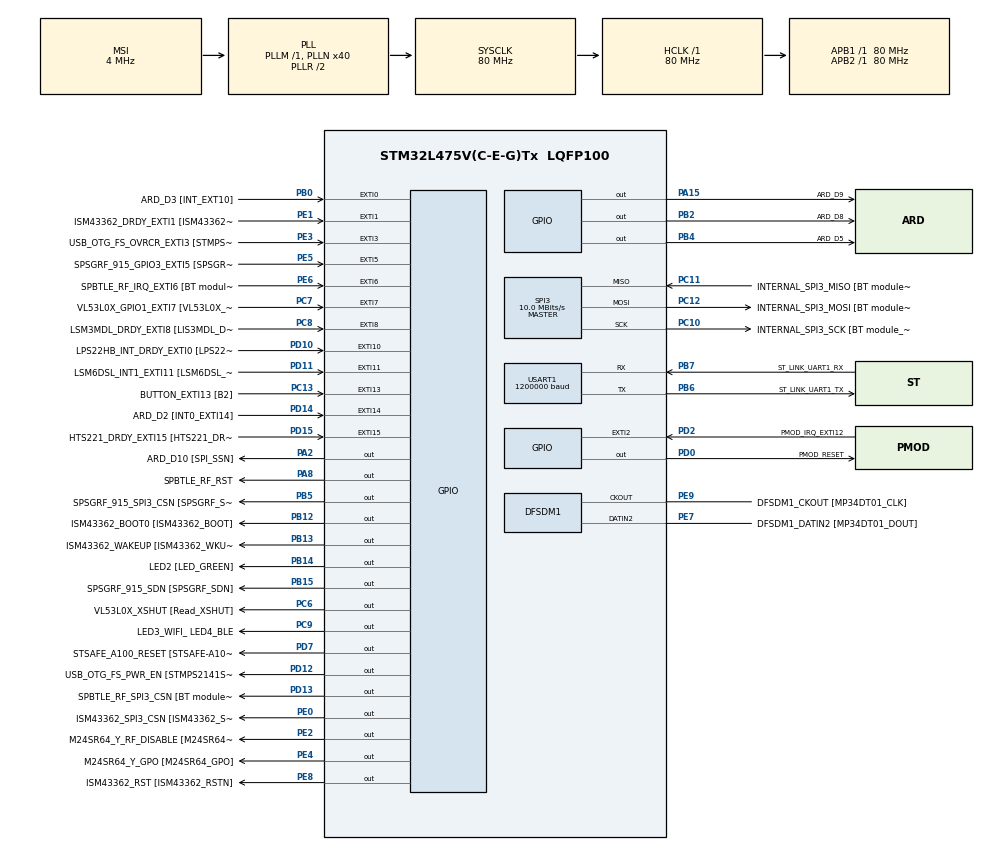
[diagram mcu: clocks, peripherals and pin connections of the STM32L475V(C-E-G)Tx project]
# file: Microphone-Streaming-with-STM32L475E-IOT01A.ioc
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DFSDM1.Divider=40
DFSDM1.DmaMode_reg_FIL0=ENABLE
DFSDM1.FastMode_reg_FIL0=ENABLE
DFSDM1.Filter_regChannel_FIL0=DFSDM_CHANNEL_2
DFSDM1.Fosr_FIL0=64
DFSDM1.SincOrder_FIL0=DFSDM_FILTER_SINC3_ORDER
DFSDM1.Type_spi_CH2=DFSDM_CHANNEL_SPI_RISING
Dma.DFSDM1_FLT0.0.Direction=DMA_PERIPH_TO_MEMORY
Dma.DFSDM1_FLT0.0.Instance=DMA1_Channel4
Dma.DFSDM1_FLT0.0.MemDataAlignment=DMA_MDATAALIGN_WORD
Dma.DFSDM1_FLT0.0.MemInc=DMA_MINC_ENABLE
Dma.DFSDM1_FLT0.0.Mode=DMA_CIRCULAR
Dma.DFSDM1_FLT0.0.PeriphDataAlignment=DMA_PDATAALIGN_WORD
Dma.DFSDM1_FLT0.0.PeriphInc=DMA_PINC_DISABLE
Dma.DFSDM1_FLT0.0.Priority=DMA_PRIORITY_LOW
Dma.Request0=DFSDM1_FLT0
Mcu.Family=STM32L4
Mcu.Name=STM32L475V(C-E-G)Tx
Mcu.Package=LQFP100
NVIC.DMA1_Channel4_IRQn=true\:0\:0\:false\:false\:true\:false\:true\:true
NVIC.EXTI1_IRQn=true\:0\:0\:false\:false\:true\:true\:true\:true
NVIC.PriorityGroup=NVIC_PRIORITYGROUP_2
PA0.GPIO_Label=ARD_D1 [UART4_TX]
PA0.Signal=UART4_TX
PA1.GPIO_Label=ARD_D0 [UART4_RX]
PA1.Signal=UART4_RX
PA10.GPIO_Label=USB_OTG_FS_ID
PA10.Signal=USB_OTG_FS_ID
PA11.GPIO_Label=USB_OTG_FS_DM
PA11.Signal=USB_OTG_FS_DM
PA12.GPIO_Label=USB_OTG_FS_DP
PA12.Signal=USB_OTG_FS_DP
PA13\ (JTMS-SWDIO).GPIO_Label=SYS_JTMS_SWDIO
PA13\ (JTMS-SWDIO).Signal=SYS_JTMS-SWDIO
PA14\ (JTCK-SWCLK).GPIO_Label=SYS_JTCK_SWCLK
PA14\ (JTCK-SWCLK).Signal=SYS_JTCK-SWCLK
PA15\ (JTDI).GPIO_Label=ARD_D9
PA15\ (JTDI).Signal=GPIO_Output
PA2.GPIO_Label=ARD_D10 [SPI_SSN]
PA2.Signal=GPIO_Output
PA3.GPIO_Label=ARD_D4
PA3.Signal=S_TIM2_CH4
PA4.GPIO_Label=ARD_D7
PA4.Signal=ADCx_IN9
PA5.GPIO_Label=ARD_D13 [SPI1_SCK]
PA5.Signal=SPI1_SCK
PA6.GPIO_Label=ARD_D12 [SPI1_MISO]
PA6.Signal=SPI1_MISO
PA7.GPIO_Label=ARD_D11 [SPI1_MOSI]
PA7.Signal=SPI1_MOSI
PA8.GPIO_Label=SPBTLE_RF_RST
PA8.Signal=GPIO_Output
PA9.GPIO_Label=USB_OTG_FS_VBUS [STMPS2141STR_OUT]
PA9.Signal=USB_OTG_FS_VBUS
PB0.GPIO_Label=ARD_D3 [INT_EXT10]
PB0.Signal=GPXTI0
PB1.GPIO_Label=ARD_D6 [ADC1_IN6]
PB1.Signal=ADCx_IN16
PB10.GPIO_Label=INTERNAL_I2C2_SCL [VL53L0X_SCL]
PB10.Signal=I2C2_SCL
PB11.GPIO_Label=INTERNAL_I2C2_SDA [VL53L0X_SDA]
PB11.Signal=I2C2_SDA
PB12.GPIO_Label=ISM43362_BOOT0 [ISM43362_BOOT]
PB12.Signal=GPIO_Output
PB13.GPIO_Label=ISM43362_WAKEUP [ISM43362_WKUP]
PB13.Signal=GPIO_Output
PB14.GPIO_Label=LED2 [LED_GREEN]
PB14.PinState=GPIO_PIN_RESET
PB14.Signal=GPIO_Output
PB15.GPIO_Label=SPSGRF_915_SDN [SPSGRF_SDN]
PB15.Signal=GPIO_Output
PB2.GPIO_Label=ARD_D8
PB2.Signal=GPIO_Output
PB3\ (JTDO-TRACESWO).GPIO_Label=SYS_JTD0_SWO
PB3\ (JTDO-TRACESWO).Signal=SYS_JTDO-SWO
PB4\ (NJTRST).GPIO_Label=ARD_D5
PB4\ (NJTRST).Signal=GPIO_Output
PB5.GPIO_Label=SPSGRF_915_SPI3_CSN [SPSGRF_SPI_CS]
PB5.PinState=GPIO_PIN_SET
PB5.Signal=GPIO_Output
PB6.GPIO_Label=ST_LINK_UART1_TX
PB6.Mode=Asynchronous
PB6.Signal=USART1_TX
PB7.GPIO_Label=ST_LINK_UART1_RX
PB7.Mode=Asynchronous
PB7.Signal=USART1_RX
PB8.GPIO_Label=ARD_D15 [I2C1_SCL]
PB8.Signal=I2C1_SCL
PB9.GPIO_Label=ARD_D14 [I2C1_SDA]
PB9.Signal=I2C1_SDA
PC0.GPIO_Label=ARD_A5 [ADC]
PC0.Signal=ADCx_IN1
PC1.GPIO_Label=ARD_A4 [ADC]
PC1.Signal=ADCx_IN2
PC10.GPIO_Label=INTERNAL_SPI3_SCK [BT module_SPI_SCLK] [ISM43362_SCK]
PC10.Mode=Full_Duplex_Master
PC10.Signal=SPI3_SCK
PC11.GPIO_Label=INTERNAL_SPI3_MISO [BT module_SPI_MISO] [ISM43362_MISO]
PC11.Mode=Full_Duplex_Master
PC11.Signal=SPI3_MISO
PC12.GPIO_Label=INTERNAL_SPI3_MOSI [BT module_SPI_MOSI] [ISM43362_MOSI]
PC12.Mode=Full_Duplex_Master
PC12.Signal=SPI3_MOSI
PC13.GPIO_Label=BUTTON_EXTI13 [B2]
PC13.GPIO_ModeDefaultEXTI=GPIO_MODE_IT_FALLING
PC13.Signal=GPXTI13
PC14-OSC32_IN\ (PC14).Signal=RCC_OSC32_IN
PC15-OSC32_OUT\ (PC15).Signal=RCC_OSC32_OUT
PC2.GPIO_Label=ARD_A3 [ADC]
PC2.Signal=ADCx_IN3
PC3.GPIO_Label=ARD_A2 [ADC]
PC3.Signal=ADCx_IN4
PC4.GPIO_Label=ARD_A1 [ADC]
PC4.Signal=ADCx_IN13
PC5.GPIO_Label=ARD_A0 [ADC]
PC5.Signal=ADCx_IN14
PC6.GPIO_Label=VL53L0X_XSHUT [Read_XSHUT]
PC6.Signal=GPIO_Output
PC7.GPIO_Label=VL53L0X_GPIO1_EXTI7 [VL53L0X_GPIO1]
PC7.Signal=GPXTI7
PC8.GPIO_Label=LSM3MDL_DRDY_EXTI8 [LIS3MDL_DRDY]
PC8.Signal=GPXTI8
PC9.GPIO_Label=LED3_WIFI_ LED4_BLE
PC9.Signal=GPIO_Output
PD0.GPIO_Label=PMOD_RESET
PD0.Signal=GPIO_Output
PD1.GPIO_Label=PMOD_SPI2_SCK
PD1.Signal=SPI2_SCK
PD10.GPIO_Label=LPS22HB_INT_DRDY_EXTI0 [LPS22HB_INT_DRDY] 
PD10.Signal=GPXTI10
PD11.GPIO_Label=LSM6DSL_INT1_EXTI11 [LSM6DSL_INT1]
PD11.Signal=GPXTI11
PD12.GPIO_Label=USB_OTG_FS_PWR_EN [STMPS2141STR_EN]
PD12.Signal=GPIO_Output
PD13.GPIO_Label=SPBTLE_RF_SPI3_CSN [BT module_SPI_CS]
PD13.PinState=GPIO_PIN_SET
PD13.Signal=GPIO_Output
PD14.GPIO_Label=ARD_D2 [INT0_EXTI14]
PD14.Signal=GPXTI14
PD15.GPIO_Label=HTS221_DRDY_EXTI15 [HTS221_DRDY]
PD15.Signal=GPXTI15
PD2.GPIO_Label=PMOD_IRQ_EXTI12
PD2.Signal=GPXTI2
PD3.GPIO_Label=PMOD_UART2_CTS
PD3.Signal=USART2_CTS
PD4.GPIO_Label=PMOD_UART2_RTS
PD4.Signal=USART2_RTS
PD5.GPIO_Label=PMOD_UART2_TX
PD5.Signal=USART2_TX
PD6.GPIO_Label=PMOD_UART2_RX
PD6.Signal=USART2_RX
PD7.GPIO_Label=STSAFE_A100_RESET [STSAFE-A100_RESET]
PD7.Signal=GPIO_Output
PD8.GPIO_Label=INTERNAL_UART3_TX [ISM43362_RX]
PD8.Signal=USART3_TX
PD9.GPIO_Label=INTERNAL_UART3_RX [ISM43362_TX]
PD9.Signal=USART3_RX
PE0.GPIO_Label=ISM43362_SPI3_CSN [ISM43362_SSN]
PE0.PinState=GPIO_PIN_SET
PE0.Signal=GPIO_Output
PE1.GPIO_Label=ISM43362_DRDY_EXTI1 [ISM43362_DATARDY]
PE1.Signal=GPXTI1
PE10.GPIO_Label=QUADSPI_CLK [MX25R6435F_SCLK]
PE10.Signal=QUADSPI_CLK
PE11.GPIO_Label=QUADSPI_NCS [MX25R6435F_SCLK]
PE11.Signal=QUADSPI_NCS
PE12.GPIO_Label=OQUADSPI_BK1_IO0 [MX25R6435F_IO0]
PE12.Signal=QUADSPI_BK1_IO0
PE13.GPIO_Label=QUADSPI_BK1_IO1 [MX25R6435F_IO1]
PE13.Signal=QUADSPI_BK1_IO1
PE14.GPIO_Label=QUAD_SPI_BK1_IO2 [MX25R6435F_IO2]
PE14.Signal=QUADSPI_BK1_IO2
PE15.GPIO_Label=QUAD_SPI_BK1_IO3 [MX25R6435F_IO3]
PE15.Signal=QUADSPI_BK1_IO3
PE2.GPIO_Label=M24SR64_Y_RF_DISABLE [M24SR64_RFDIS]
PE2.Signal=GPIO_Output
PE3.GPIO_Label=USB_OTG_FS_OVRCR_EXTI3 [STMPS2141STR_FAULT]
PE3.Signal=GPXTI3
PE4.GPIO_Label=M24SR64_Y_GPO [M24SR64_GPO]
PE4.Signal=GPIO_Output
PE5.GPIO_Label=SPSGRF_915_GPIO3_EXTI5 [SPSGRF_GPIO_3]
PE5.Signal=GPXTI5
PE6.GPIO_Label=SPBTLE_RF_IRQ_EXTI6 [BT module_SPI_IRQ]
PE6.Signal=GPXTI6
PE7.GPIO_Label=DFSDM1_DATIN2 [MP34DT01_DOUT]
PE7.Signal=S_DATAIN2DFSDM1
PE8.GPIO_Label=ISM43362_RST [ISM43362_RSTN]
PE8.Signal=GPIO_Output
PE9.GPIO_Label=DFSDM1_CKOUT [MP34DT01_CLK]
PE9.Signal=S_CKOUTDFSDM1
ProjectManager.HeapSize=0x200
ProjectManager.StackSize=0x400
ProjectManager.TargetToolchain=STM32CubeIDE
RCC.ADCFreq_Value=48000000
RCC.AHBFreq_Value=80000000
RCC.APB1Freq_Value=80000000
RCC.APB1TimFreq_Value=80000000
RCC.APB2Freq_Value=80000000
RCC.APB2TimFreq_Value=80000000
RCC.CortexFreq_Value=80000000
RCC.HCLKFreq_Value=80000000
RCC.HSE_VALUE=8000000
RCC.HSI_VALUE=16000000
RCC.LSE_VALUE=32768
RCC.MSI_VALUE=4000000
RCC.PLLN=40
RCC.PLLSAI1N=24
RCC.SYSCLKFreq_VALUE=80000000
RCC.SYSCLKSource=RCC_SYSCLKSOURCE_PLLCLK
RCC.USBFreq_Value=48000000
RCC.VCOOutputFreq_Value=160000000
SH.ADCx_IN1.0=ADC1_IN1
SH.ADCx_IN13.0=ADC1_IN13
SH.ADCx_IN14.0=ADC1_IN14
SH.ADCx_IN16.0=ADC1_IN16
SH.ADCx_IN2.0=ADC1_IN2
SH.ADCx_IN3.0=ADC1_IN3
SH.ADCx_IN4.0=ADC1_IN4
SH.ADCx_IN9.0=ADC1_IN9
SH.S_CKOUTDFSDM1.0=DFSDM1_CKOUT,PDM_SPI_input_from_ch2_and_internal_clock
SH.S_CKOUTDFSDM1.1=DFSDM1_CKOUT,CKOUT
SH.S_DATAIN2DFSDM1.0=DFSDM1_DATIN2,PDM_SPI_input_from_ch2_and_internal_clock
SH.S_TIM2_CH4.0=TIM2_CH4
SPI3.BaudRatePrescaler=SPI_BAUDRATEPRESCALER_8
SPI3.CalculateBaudRate=10.0 MBits/s
SPI3.DataSize=SPI_DATASIZE_16BIT
SPI3.Direction=SPI_DIRECTION_2LINES
SPI3.Mode=SPI_MODE_MASTER
SPI3.VirtualType=VM_MASTER
USART1.BaudRate=1200000
USART1.VirtualMode-Asynchronous=VM_ASYNC
VP_FATFS_VS_Generic.Mode=User_defined
board=B-L475E-IOT01A2

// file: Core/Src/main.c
/* USER CODE BEGIN Header */
/**
  ******************************************************************************
  * @file           : main.c
  * @brief          : Main program body
  ******************************************************************************
  * @attention
  *
  * Copyright (c) 2023 STMicroelectronics.
  * All rights reserved.
  *
  * This software is licensed under terms that can be found in the LICENSE file
  * in the root directory of this software component.
  * If no LICENSE file comes with this software, it is provided AS-IS.
  *
  ******************************************************************************
  */
/* USER CODE END Header */
#include "main.h"
#include "fatfs.h"

/* USER CODE BEGIN Includes */
#include "string.h"
#include "wifi.h"

/* USER CODE END Includes */

/* USER CODE BEGIN PD */

#define SaturaLH(N, L, H) 				(((N)<(L))?(L):(((N)>(H))?(H):(N)))

#define AUDIO_BUFFER_SIZE							2000
#define AUDIO_WAITING_SEND_SIGNAL			0
#define AUDIO_WAITING_BUFFER					1
#define AUDIO_HALF_BUFFER_AVIALABLE		2
#define AUDIO_FULL_BUFFER_AVAILABLE		3

// WiFi
#define AP_SSID     									"stm32audioserver"
#define AP_PASSWORD 									"12345678"
#define PORT           								5024

#define WIFI_WRITE_TIMEOUT 						10000
#define WIFI_READ_TIMEOUT  						10000
#define SOCKET              					0

// LOG
#define LOG(a)  											printf a

/* USER CODE END PD */

DFSDM_Filter_HandleTypeDef hdfsdm1_filter0;
DFSDM_Channel_HandleTypeDef hdfsdm1_channel2;
DMA_HandleTypeDef hdma_dfsdm1_flt0;

SPI_HandleTypeDef hspi3;

UART_HandleTypeDef huart1;

/* USER CODE BEGIN PV */

// Audio
uint8_t audio_buffer_status 									= AUDIO_WAITING_SEND_SIGNAL;
int32_t raw_audio_buff[AUDIO_BUFFER_SIZE] 		= {0};
int32_t conv_audio_buff[AUDIO_BUFFER_SIZE] 		= {0};

// WiFi
static  uint8_t 	http[1024]	= {0};
static  uint8_t  	IP_Addr[4]	= {0};
static  int     	LedState 		= 0;

/* USER CODE END PV */

void SystemClock_Config(void);
static void MX_GPIO_Init(void);
static void MX_DMA_Init(void);
static void MX_USART1_UART_Init(void);
static void MX_DFSDM1_Init(void);
static void MX_SPI3_Init(void);
/* USER CODE BEGIN PFP */

static  int wifi_init(void);
static  int wifi_shareAP(void);
static  int wifi_server(void);
static  bool WebServerProcess(void);
static  WIFI_Status_t SendWebPage(uint8_t ledIsOn, uint8_t temperature);

static void start_wifi_cli(void);

/* USER CODE END PFP */

int main(void)
{

  /* MCU Configuration--------------------------------------------------------*/

  /* Reset of all peripherals, Initializes the Flash interface and the Systick. */
  HAL_Init();

  /* Configure the system clock */
  SystemClock_Config();

  /* Initialize all configured peripherals */
  MX_GPIO_Init();
  MX_DMA_Init();
  MX_USART1_UART_Init();
  MX_DFSDM1_Init();
  MX_FATFS_Init();
  MX_SPI3_Init();
  /* USER CODE BEGIN 2 */

  if (wifi_init() != 0)
  {
  	while(1);
  }

  if (wifi_shareAP() != 0)
	{
  	asm("nop");
	}

  if (wifi_server() != 0)
	{
  	asm("nop");
	}

  start_wifi_cli();

//  http://stm32audioserver:5024

//  /* Wait HTTP request from Clients */
//
//	#define WIFI_PACKET_MAX_SIZE 								1460
//  uint8_t  client_data[WIFI_PACKET_MAX_SIZE] = {0};
//  uint16_t max_packet_size 									 = 1200;			// must not exceed 1460 bytes
//  uint16_t read_timeout 										 = 1000;			// 1 second
//  uint16_t write_timeout 										 = 5000;			// 5 second
//  uint16_t rcvDataLen												 = 0;
//  uint16_t sentDataLen											 = 0;
//  char 		*token_ptr 												 = NULL;
//  WIFI_Status_t ret 												 = WIFI_STATUS_ERROR;
//	char *homePageResponse = "HTTP/1.1 200 OK\r\n "
//											"Content-Type: text/html\r\n"
//											"\r\n"
//											"<html><body><h1>Hello, World!</h1></body></html>\r\n"
//											"\r\n";
//
//	do
//  {
//  		ret = WIFI_ReceiveData(socket, client_data, max_packet_size, &rcvDataLen, read_timeout);
//  		if(ret != WIFI_STATUS_OK)
//  		{
//  				HandleClientError("Failed to Receive Data");
//  		}
//
//  		if(rcvDataLen > 0)
//  		{
//					char datalen_str[100] = {0};
//  				HAL_UART_Transmit(&huart1, (uint8_t *)"-----> New Message \r\n", strlen("-----> New Message \r\n"), HAL_MAX_DELAY);
//					sprintf((char*)datalen_str, "RcvDataLen : %d\r\n", rcvDataLen);
//					HAL_UART_Transmit(&huart1, (uint8_t *)datalen_str, strlen(datalen_str), HAL_MAX_DELAY);
//  				HAL_UART_Transmit(&huart1, (uint8_t *)client_data, rcvDataLen, HAL_MAX_DELAY);
//  				HAL_UART_Transmit(&huart1, (uint8_t *)"-----> End Message \r\n", strlen("-----> End Message \r\n"), HAL_MAX_DELAY);
//
//  				// check if connection is lost
//  				token_ptr = strstr((char *)client_data, "-1\r\nERROR:");
//  				if (token_ptr != NULL)
//  				{
//							//	Response= "-1"
//							//	Any one of the following reasons will cause a "-1" response:
//							//	1. Connection to the network (AP) has been lost
//							//	2. Other side has closed the connection
//							//	3. Other side has lost it connection to the network
//							printf("Connection lost\r\n");
//  				}
//  				else
//  				{
//  						// check if GET request is received
//							token_ptr = strstr((char *)client_data, "GET /");
//							if (token_ptr != NULL)
//							{
//									printf("Received GET Request\r\n");
//									token_ptr = strstr((char *)client_data, "GET / HTTP/1.1");
//									if (token_ptr != NULL)
//									{
//											printf("Home Page Request Received\r\n");
//											ret = WIFI_SendData(socket, (uint8_t *)homePageResponse, strlen(homePageResponse), &sentDataLen, write_timeout);
//											if(ret == WIFI_STATUS_OK)
//											{
//													printf("Home Page well sent\r\n");
//											}
//											else
//											{
//													printf("Error: Data aren't sent to client\r\n");
//											}
//									}
//							}
//  				}
//  		}
//
//  }
//  while(1);

  /* USER CODE END 2 */

  /* Infinite loop */
  /* USER CODE BEGIN WHILE */

  uint8_t preambule[4] = "Send";
  uint8_t rcv_data[4] = {0};

  if (HAL_DFSDM_FilterRegularStart_DMA(&hdfsdm1_filter0, raw_audio_buff, AUDIO_BUFFER_SIZE) != HAL_OK)
  {
	  Error_Handler();
  }

  while (1)
  {
		switch (audio_buffer_status)
		{
			case AUDIO_WAITING_SEND_SIGNAL:

				if (HAL_UART_Receive(&huart1, (uint8_t *)rcv_data, 4, HAL_MAX_DELAY) == HAL_OK)
				{
					if (memcmp(rcv_data, preambule, 4) == 0)
					{
						// wait for DMA to fill buffer
						audio_buffer_status = AUDIO_WAITING_BUFFER;
					}
				}
				break;

			case AUDIO_HALF_BUFFER_AVIALABLE:

				for(uint16_t sample_index = 0; sample_index < AUDIO_BUFFER_SIZE / 2; sample_index ++)
				{
					conv_audio_buff[sample_index] = SaturaLH(((int32_t)raw_audio_buff[sample_index] >> 8), -32768, 32767);
					HAL_UART_Transmit(&huart1, (uint8_t *)&conv_audio_buff[sample_index], 2, HAL_MAX_DELAY);
				}
				audio_buffer_status = AUDIO_WAITING_SEND_SIGNAL;
				break;

			case AUDIO_FULL_BUFFER_AVAILABLE:

				for(uint16_t sample_index = AUDIO_BUFFER_SIZE / 2; sample_index < AUDIO_BUFFER_SIZE; sample_index ++)
				{
					conv_audio_buff[sample_index] = SaturaLH(((int32_t)raw_audio_buff[sample_index] >> 8), -32768, 32767);
					HAL_UART_Transmit(&huart1, (uint8_t *)&conv_audio_buff[sample_index], 2, HAL_MAX_DELAY);
				}
				audio_buffer_status = AUDIO_WAITING_SEND_SIGNAL;
				break;
		}

    /* USER CODE END WHILE */

  }
}

void SystemClock_Config(void)
{
  RCC_OscInitTypeDef RCC_OscInitStruct = {0};
  RCC_ClkInitTypeDef RCC_ClkInitStruct = {0};

  /** Configure the main internal regulator output voltage
  */
  if (HAL_PWREx_ControlVoltageScaling(PWR_REGULATOR_VOLTAGE_SCALE1) != HAL_OK)
  {
    Error_Handler();
  }

  /** Initializes the RCC Oscillators according to the specified parameters
  * in the RCC_OscInitTypeDef structure.
  */
  RCC_OscInitStruct.OscillatorType = RCC_OSCILLATORTYPE_MSI;
  RCC_OscInitStruct.MSIState = RCC_MSI_ON;
  RCC_OscInitStruct.MSICalibrationValue = 0;
  RCC_OscInitStruct.MSIClockRange = RCC_MSIRANGE_6;
  RCC_OscInitStruct.PLL.PLLState = RCC_PLL_ON;
  RCC_OscInitStruct.PLL.PLLSource = RCC_PLLSOURCE_MSI;
  RCC_OscInitStruct.PLL.PLLM = 1;
  RCC_OscInitStruct.PLL.PLLN = 40;
  RCC_OscInitStruct.PLL.PLLP = RCC_PLLP_DIV7;
  RCC_OscInitStruct.PLL.PLLQ = RCC_PLLQ_DIV2;
  RCC_OscInitStruct.PLL.PLLR = RCC_PLLR_DIV2;
  if (HAL_RCC_OscConfig(&RCC_OscInitStruct) != HAL_OK)
  {
    Error_Handler();
  }

  /** Initializes the CPU, AHB and APB buses clocks
  */
  RCC_ClkInitStruct.ClockType = RCC_CLOCKTYPE_HCLK|RCC_CLOCKTYPE_SYSCLK
                              |RCC_CLOCKTYPE_PCLK1|RCC_CLOCKTYPE_PCLK2;
  RCC_ClkInitStruct.SYSCLKSource = RCC_SYSCLKSOURCE_PLLCLK;
  RCC_ClkInitStruct.AHBCLKDivider = RCC_SYSCLK_DIV1;
  RCC_ClkInitStruct.APB1CLKDivider = RCC_HCLK_DIV1;
  RCC_ClkInitStruct.APB2CLKDivider = RCC_HCLK_DIV1;

  if (HAL_RCC_ClockConfig(&RCC_ClkInitStruct, FLASH_LATENCY_4) != HAL_OK)
  {
    Error_Handler();
  }
}

static void MX_DFSDM1_Init(void)
{

  hdfsdm1_filter0.Instance = DFSDM1_Filter0;
  hdfsdm1_filter0.Init.RegularParam.Trigger = DFSDM_FILTER_SW_TRIGGER;
  hdfsdm1_filter0.Init.RegularParam.FastMode = ENABLE;
  hdfsdm1_filter0.Init.RegularParam.DmaMode = ENABLE;
  hdfsdm1_filter0.Init.FilterParam.SincOrder = DFSDM_FILTER_SINC3_ORDER;
  hdfsdm1_filter0.Init.FilterParam.Oversampling = 64;
  hdfsdm1_filter0.Init.FilterParam.IntOversampling = 1;
  if (HAL_DFSDM_FilterInit(&hdfsdm1_filter0) != HAL_OK)
  {
    Error_Handler();
  }
  hdfsdm1_channel2.Instance = DFSDM1_Channel2;
  hdfsdm1_channel2.Init.OutputClock.Activation = ENABLE;
  hdfsdm1_channel2.Init.OutputClock.Selection = DFSDM_CHANNEL_OUTPUT_CLOCK_SYSTEM;
  hdfsdm1_channel2.Init.OutputClock.Divider = 40;
  hdfsdm1_channel2.Init.Input.Multiplexer = DFSDM_CHANNEL_EXTERNAL_INPUTS;
  hdfsdm1_channel2.Init.Input.DataPacking = DFSDM_CHANNEL_STANDARD_MODE;
  hdfsdm1_channel2.Init.Input.Pins = DFSDM_CHANNEL_SAME_CHANNEL_PINS;
  hdfsdm1_channel2.Init.SerialInterface.Type = DFSDM_CHANNEL_SPI_RISING;
  hdfsdm1_channel2.Init.SerialInterface.SpiClock = DFSDM_CHANNEL_SPI_CLOCK_INTERNAL;
  hdfsdm1_channel2.Init.Awd.FilterOrder = DFSDM_CHANNEL_FASTSINC_ORDER;
  hdfsdm1_channel2.Init.Awd.Oversampling = 1;
  hdfsdm1_channel2.Init.Offset = 0;
  hdfsdm1_channel2.Init.RightBitShift = 0x00;
  if (HAL_DFSDM_ChannelInit(&hdfsdm1_channel2) != HAL_OK)
  {
    Error_Handler();
  }
  if (HAL_DFSDM_FilterConfigRegChannel(&hdfsdm1_filter0, DFSDM_CHANNEL_2, DFSDM_CONTINUOUS_CONV_ON) != HAL_OK)
  {
    Error_Handler();
  }

}

static void MX_SPI3_Init(void)
{

  /* SPI3 parameter configuration*/
  hspi3.Instance = SPI3;
  hspi3.Init.Mode = SPI_MODE_MASTER;
  hspi3.Init.Direction = SPI_DIRECTION_2LINES;
  hspi3.Init.DataSize = SPI_DATASIZE_16BIT;
  hspi3.Init.CLKPolarity = SPI_POLARITY_LOW;
  hspi3.Init.CLKPhase = SPI_PHASE_1EDGE;
  hspi3.Init.NSS = SPI_NSS_SOFT;
  hspi3.Init.BaudRatePrescaler = SPI_BAUDRATEPRESCALER_8;
  hspi3.Init.FirstBit = SPI_FIRSTBIT_MSB;
  hspi3.Init.TIMode = SPI_TIMODE_DISABLE;
  hspi3.Init.CRCCalculation = SPI_CRCCALCULATION_DISABLE;
  hspi3.Init.CRCPolynomial = 7;
  hspi3.Init.CRCLength = SPI_CRC_LENGTH_DATASIZE;
  hspi3.Init.NSSPMode = SPI_NSS_PULSE_ENABLE;
  if (HAL_SPI_Init(&hspi3) != HAL_OK)
  {
    Error_Handler();
  }

}

static void MX_USART1_UART_Init(void)
{

  huart1.Instance = USART1;
  huart1.Init.BaudRate = 1200000;
  huart1.Init.WordLength = UART_WORDLENGTH_8B;
  huart1.Init.StopBits = UART_STOPBITS_1;
  huart1.Init.Parity = UART_PARITY_NONE;
  huart1.Init.Mode = UART_MODE_TX_RX;
  huart1.Init.HwFlowCtl = UART_HWCONTROL_NONE;
  huart1.Init.OverSampling = UART_OVERSAMPLING_16;
  huart1.Init.OneBitSampling = UART_ONE_BIT_SAMPLE_DISABLE;
  huart1.AdvancedInit.AdvFeatureInit = UART_ADVFEATURE_NO_INIT;
  if (HAL_UART_Init(&huart1) != HAL_OK)
  {
    Error_Handler();
  }

}

static void MX_DMA_Init(void)
{

  /* DMA controller clock enable */
  __HAL_RCC_DMA1_CLK_ENABLE();

  /* DMA interrupt init */
  /* DMA1_Channel4_IRQn interrupt configuration */
  HAL_NVIC_SetPriority(DMA1_Channel4_IRQn, 0, 0);
  HAL_NVIC_EnableIRQ(DMA1_Channel4_IRQn);

}

static void MX_GPIO_Init(void)
{
  GPIO_InitTypeDef GPIO_InitStruct = {0};

  /* GPIO Ports Clock Enable */
  __HAL_RCC_GPIOE_CLK_ENABLE();
  __HAL_RCC_GPIOC_CLK_ENABLE();
  __HAL_RCC_GPIOA_CLK_ENABLE();
  __HAL_RCC_GPIOB_CLK_ENABLE();
  __HAL_RCC_GPIOD_CLK_ENABLE();

  /*Configure GPIO pin Output Level */
  HAL_GPIO_WritePin(GPIOE, M24SR64_Y_RF_DISABLE_Pin|M24SR64_Y_GPO_Pin|ISM43362_RST_Pin, GPIO_PIN_RESET);

  /*Configure GPIO pin Output Level */
  HAL_GPIO_WritePin(GPIOA, ARD_D10_Pin|SPBTLE_RF_RST_Pin|ARD_D9_Pin, GPIO_PIN_RESET);

  /*Configure GPIO pin Output Level */
  HAL_GPIO_WritePin(GPIOB, ARD_D8_Pin|ISM43362_BOOT0_Pin|ISM43362_WAKEUP_Pin|LED2_Pin
                          |SPSGRF_915_SDN_Pin|ARD_D5_Pin, GPIO_PIN_RESET);

  /*Configure GPIO pin Output Level */
  HAL_GPIO_WritePin(GPIOD, USB_OTG_FS_PWR_EN_Pin|PMOD_RESET_Pin|STSAFE_A100_RESET_Pin, GPIO_PIN_RESET);

  /*Configure GPIO pin Output Level */
  HAL_GPIO_WritePin(SPBTLE_RF_SPI3_CSN_GPIO_Port, SPBTLE_RF_SPI3_CSN_Pin, GPIO_PIN_SET);

  /*Configure GPIO pin Output Level */
  HAL_GPIO_WritePin(GPIOC, VL53L0X_XSHUT_Pin|LED3_WIFI__LED4_BLE_Pin, GPIO_PIN_RESET);

  /*Configure GPIO pin Output Level */
  HAL_GPIO_WritePin(SPSGRF_915_SPI3_CSN_GPIO_Port, SPSGRF_915_SPI3_CSN_Pin, GPIO_PIN_SET);

  /*Configure GPIO pin Output Level */
  HAL_GPIO_WritePin(ISM43362_SPI3_CSN_GPIO_Port, ISM43362_SPI3_CSN_Pin, GPIO_PIN_SET);

  /*Configure GPIO pins : M24SR64_Y_RF_DISABLE_Pin M24SR64_Y_GPO_Pin ISM43362_RST_Pin ISM43362_SPI3_CSN_Pin */
  GPIO_InitStruct.Pin = M24SR64_Y_RF_DISABLE_Pin|M24SR64_Y_GPO_Pin|ISM43362_RST_Pin|ISM43362_SPI3_CSN_Pin;
  GPIO_InitStruct.Mode = GPIO_MODE_OUTPUT_PP;
  GPIO_InitStruct.Pull = GPIO_NOPULL;
  GPIO_InitStruct.Speed = GPIO_SPEED_FREQ_LOW;
  HAL_GPIO_Init(GPIOE, &GPIO_InitStruct);

  /*Configure GPIO pins : USB_OTG_FS_OVRCR_EXTI3_Pin SPSGRF_915_GPIO3_EXTI5_Pin SPBTLE_RF_IRQ_EXTI6_Pin ISM43362_DRDY_EXTI1_Pin */
  GPIO_InitStruct.Pin = USB_OTG_FS_OVRCR_EXTI3_Pin|SPSGRF_915_GPIO3_EXTI5_Pin|SPBTLE_RF_IRQ_EXTI6_Pin|ISM43362_DRDY_EXTI1_Pin;
  GPIO_InitStruct.Mode = GPIO_MODE_IT_RISING;
  GPIO_InitStruct.Pull = GPIO_NOPULL;
  HAL_GPIO_Init(GPIOE, &GPIO_InitStruct);

  /*Configure GPIO pin : BUTTON_EXTI13_Pin */
  GPIO_InitStruct.Pin = BUTTON_EXTI13_Pin;
  GPIO_InitStruct.Mode = GPIO_MODE_IT_FALLING;
  GPIO_InitStruct.Pull = GPIO_NOPULL;
  HAL_GPIO_Init(BUTTON_EXTI13_GPIO_Port, &GPIO_InitStruct);

  /*Configure GPIO pins : ARD_A5_Pin ARD_A4_Pin ARD_A3_Pin ARD_A2_Pin
                           ARD_A1_Pin ARD_A0_Pin */
  GPIO_InitStruct.Pin = ARD_A5_Pin|ARD_A4_Pin|ARD_A3_Pin|ARD_A2_Pin
                          |ARD_A1_Pin|ARD_A0_Pin;
  GPIO_InitStruct.Mode = GPIO_MODE_ANALOG_ADC_CONTROL;
  GPIO_InitStruct.Pull = GPIO_NOPULL;
  HAL_GPIO_Init(GPIOC, &GPIO_InitStruct);

  /*Configure GPIO pins : ARD_D1_Pin ARD_D0_Pin */
  GPIO_InitStruct.Pin = ARD_D1_Pin|ARD_D0_Pin;
  GPIO_InitStruct.Mode = GPIO_MODE_AF_PP;
  GPIO_InitStruct.Pull = GPIO_NOPULL;
  GPIO_InitStruct.Speed = GPIO_SPEED_FREQ_VERY_HIGH;
  GPIO_InitStruct.Alternate = GPIO_AF8_UART4;
  HAL_GPIO_Init(GPIOA, &GPIO_InitStruct);

  /*Configure GPIO pins : ARD_D10_Pin SPBTLE_RF_RST_Pin ARD_D9_Pin */
  GPIO_InitStruct.Pin = ARD_D10_Pin|SPBTLE_RF_RST_Pin|ARD_D9_Pin;
  GPIO_InitStruct.Mode = GPIO_MODE_OUTPUT_PP;
  GPIO_InitStruct.Pull = GPIO_NOPULL;
  GPIO_InitStruct.Speed = GPIO_SPEED_FREQ_LOW;
  HAL_GPIO_Init(GPIOA, &GPIO_InitStruct);

  /*Configure GPIO pin : ARD_D4_Pin */
  GPIO_InitStruct.Pin = ARD_D4_Pin;
  GPIO_InitStruct.Mode = GPIO_MODE_AF_PP;
  GPIO_InitStruct.Pull = GPIO_NOPULL;
  GPIO_InitStruct.Speed = GPIO_SPEED_FREQ_LOW;
  GPIO_InitStruct.Alternate = GPIO_AF1_TIM2;
  HAL_GPIO_Init(ARD_D4_GPIO_Port, &GPIO_InitStruct);

  /*Configure GPIO pin : ARD_D7_Pin */
  GPIO_InitStruct.Pin = ARD_D7_Pin;
  GPIO_InitStruct.Mode = GPIO_MODE_ANALOG_ADC_CONTROL;
  GPIO_InitStruct.Pull = GPIO_NOPULL;
  HAL_GPIO_Init(ARD_D7_GPIO_Port, &GPIO_InitStruct);

  /*Configure GPIO pins : ARD_D13_Pin ARD_D12_Pin ARD_D11_Pin */
  GPIO_InitStruct.Pin = ARD_D13_Pin|ARD_D12_Pin|ARD_D11_Pin;
  GPIO_InitStruct.Mode = GPIO_MODE_AF_PP;
  GPIO_InitStruct.Pull = GPIO_NOPULL;
  GPIO_InitStruct.Speed = GPIO_SPEED_FREQ_VERY_HIGH;
  GPIO_InitStruct.Alternate = GPIO_AF5_SPI1;
  HAL_GPIO_Init(GPIOA, &GPIO_InitStruct);

  /*Configure GPIO pin : ARD_D3_Pin */
  GPIO_InitStruct.Pin = ARD_D3_Pin;
  GPIO_InitStruct.Mode = GPIO_MODE_IT_RISING;
  GPIO_InitStruct.Pull = GPIO_NOPULL;
  HAL_GPIO_Init(ARD_D3_GPIO_Port, &GPIO_InitStruct);

  /*Configure GPIO pin : ARD_D6_Pin */
  GPIO_InitStruct.Pin = ARD_D6_Pin;
  GPIO_InitStruct.Mode = GPIO_MODE_ANALOG_ADC_CONTROL;
  GPIO_InitStruct.Pull = GPIO_NOPULL;
  HAL_GPIO_Init(ARD_D6_GPIO_Port, &GPIO_InitStruct);

  /*Configure GPIO pins : ARD_D8_Pin ISM43362_BOOT0_Pin ISM43362_WAKEUP_Pin LED2_Pin
                           SPSGRF_915_SDN_Pin ARD_D5_Pin SPSGRF_915_SPI3_CSN_Pin */
  GPIO_InitStruct.Pin = ARD_D8_Pin|ISM43362_BOOT0_Pin|ISM43362_WAKEUP_Pin|LED2_Pin
                          |SPSGRF_915_SDN_Pin|ARD_D5_Pin|SPSGRF_915_SPI3_CSN_Pin;
  GPIO_InitStruct.Mode = GPIO_MODE_OUTPUT_PP;
  GPIO_InitStruct.Pull = GPIO_NOPULL;
  GPIO_InitStruct.Speed = GPIO_SPEED_FREQ_LOW;
  HAL_GPIO_Init(GPIOB, &GPIO_InitStruct);

  /*Configure GPIO pins : QUADSPI_CLK_Pin QUADSPI_NCS_Pin OQUADSPI_BK1_IO0_Pin QUADSPI_BK1_IO1_Pin
                           QUAD_SPI_BK1_IO2_Pin QUAD_SPI_BK1_IO3_Pin */
  GPIO_InitStruct.Pin = QUADSPI_CLK_Pin|QUADSPI_NCS_Pin|OQUADSPI_BK1_IO0_Pin|QUADSPI_BK1_IO1_Pin
                          |QUAD_SPI_BK1_IO2_Pin|QUAD_SPI_BK1_IO3_Pin;
  GPIO_InitStruct.Mode = GPIO_MODE_AF_PP;
  GPIO_InitStruct.Pull = GPIO_NOPULL;
  GPIO_InitStruct.Speed = GPIO_SPEED_FREQ_VERY_HIGH;
  GPIO_InitStruct.Alternate = GPIO_AF10_QUADSPI;
  HAL_GPIO_Init(GPIOE, &GPIO_InitStruct);

  /*Configure GPIO pins : INTERNAL_I2C2_SCL_Pin INTERNAL_I2C2_SDA_Pin */
  GPIO_InitStruct.Pin = INTERNAL_I2C2_SCL_Pin|INTERNAL_I2C2_SDA_Pin;
  GPIO_InitStruct.Mode = GPIO_MODE_AF_OD;
  GPIO_InitStruct.Pull = GPIO_NOPULL;
  GPIO_InitStruct.Speed = GPIO_SPEED_FREQ_VERY_HIGH;
  GPIO_InitStruct.Alternate = GPIO_AF4_I2C2;
  HAL_GPIO_Init(GPIOB, &GPIO_InitStruct);

  /*Configure GPIO pins : INTERNAL_UART3_TX_Pin INTERNAL_UART3_RX_Pin */
  GPIO_InitStruct.Pin = INTERNAL_UART3_TX_Pin|INTERNAL_UART3_RX_Pin;
  GPIO_InitStruct.Mode = GPIO_MODE_AF_PP;
  GPIO_InitStruct.Pull = GPIO_NOPULL;
  GPIO_InitStruct.Speed = GPIO_SPEED_FREQ_VERY_HIGH;
  GPIO_InitStruct.Alternate = GPIO_AF7_USART3;
  HAL_GPIO_Init(GPIOD, &GPIO_InitStruct);

  /*Configure GPIO pins : LPS22HB_INT_DRDY_EXTI0_Pin LSM6DSL_INT1_EXTI11_Pin ARD_D2_Pin HTS221_DRDY_EXTI15_Pin
                           PMOD_IRQ_EXTI12_Pin */
  GPIO_InitStruct.Pin = LPS22HB_INT_DRDY_EXTI0_Pin|LSM6DSL_INT1_EXTI11_Pin|ARD_D2_Pin|HTS221_DRDY_EXTI15_Pin
                          |PMOD_IRQ_EXTI12_Pin;
  GPIO_InitStruct.Mode = GPIO_MODE_IT_RISING;
  GPIO_InitStruct.Pull = GPIO_NOPULL;
  HAL_GPIO_Init(GPIOD, &GPIO_InitStruct);

  /*Configure GPIO pins : USB_OTG_FS_PWR_EN_Pin SPBTLE_RF_SPI3_CSN_Pin PMOD_RESET_Pin STSAFE_A100_RESET_Pin */
  GPIO_InitStruct.Pin = USB_OTG_FS_PWR_EN_Pin|SPBTLE_RF_SPI3_CSN_Pin|PMOD_RESET_Pin|STSAFE_A100_RESET_Pin;
  GPIO_InitStruct.Mode = GPIO_MODE_OUTPUT_PP;
  GPIO_InitStruct.Pull = GPIO_NOPULL;
  GPIO_InitStruct.Speed = GPIO_SPEED_FREQ_LOW;
  HAL_GPIO_Init(GPIOD, &GPIO_InitStruct);

  /*Configure GPIO pins : VL53L0X_XSHUT_Pin LED3_WIFI__LED4_BLE_Pin */
  GPIO_InitStruct.Pin = VL53L0X_XSHUT_Pin|LED3_WIFI__LED4_BLE_Pin;
  GPIO_InitStruct.Mode = GPIO_MODE_OUTPUT_PP;
  GPIO_InitStruct.Pull = GPIO_NOPULL;
  GPIO_InitStruct.Speed = GPIO_SPEED_FREQ_LOW;
  HAL_GPIO_Init(GPIOC, &GPIO_InitStruct);

  /*Configure GPIO pins : VL53L0X_GPIO1_EXTI7_Pin LSM3MDL_DRDY_EXTI8_Pin */
  GPIO_InitStruct.Pin = VL53L0X_GPIO1_EXTI7_Pin|LSM3MDL_DRDY_EXTI8_Pin;
  GPIO_InitStruct.Mode = GPIO_MODE_IT_RISING;
  GPIO_InitStruct.Pull = GPIO_NOPULL;
  HAL_GPIO_Init(GPIOC, &GPIO_InitStruct);

  /*Configure GPIO pin : USB_OTG_FS_VBUS_Pin */
  GPIO_InitStruct.Pin = USB_OTG_FS_VBUS_Pin;
  GPIO_InitStruct.Mode = GPIO_MODE_INPUT;
  GPIO_InitStruct.Pull = GPIO_NOPULL;
  HAL_GPIO_Init(USB_OTG_FS_VBUS_GPIO_Port, &GPIO_InitStruct);

  /*Configure GPIO pins : USB_OTG_FS_ID_Pin USB_OTG_FS_DM_Pin USB_OTG_FS_DP_Pin */
  GPIO_InitStruct.Pin = USB_OTG_FS_ID_Pin|USB_OTG_FS_DM_Pin|USB_OTG_FS_DP_Pin;
  GPIO_InitStruct.Mode = GPIO_MODE_AF_PP;
  GPIO_InitStruct.Pull = GPIO_NOPULL;
  GPIO_InitStruct.Speed = GPIO_SPEED_FREQ_VERY_HIGH;
  GPIO_InitStruct.Alternate = GPIO_AF10_OTG_FS;
  HAL_GPIO_Init(GPIOA, &GPIO_InitStruct);

  /*Configure GPIO pin : PMOD_SPI2_SCK_Pin */
  GPIO_InitStruct.Pin = PMOD_SPI2_SCK_Pin;
  GPIO_InitStruct.Mode = GPIO_MODE_AF_PP;
  GPIO_InitStruct.Pull = GPIO_NOPULL;
  GPIO_InitStruct.Speed = GPIO_SPEED_FREQ_VERY_HIGH;
  GPIO_InitStruct.Alternate = GPIO_AF5_SPI2;
  HAL_GPIO_Init(PMOD_SPI2_SCK_GPIO_Port, &GPIO_InitStruct);

  /*Configure GPIO pins : PMOD_UART2_CTS_Pin PMOD_UART2_RTS_Pin PMOD_UART2_TX_Pin PMOD_UART2_RX_Pin */
  GPIO_InitStruct.Pin = PMOD_UART2_CTS_Pin|PMOD_UART2_RTS_Pin|PMOD_UART2_TX_Pin|PMOD_UART2_RX_Pin;
  GPIO_InitStruct.Mode = GPIO_MODE_AF_PP;
  GPIO_InitStruct.Pull = GPIO_NOPULL;
  GPIO_InitStruct.Speed = GPIO_SPEED_FREQ_VERY_HIGH;
  GPIO_InitStruct.Alternate = GPIO_AF7_USART2;
  HAL_GPIO_Init(GPIOD, &GPIO_InitStruct);

  /*Configure GPIO pins : ARD_D15_Pin ARD_D14_Pin */
  GPIO_InitStruct.Pin = ARD_D15_Pin|ARD_D14_Pin;
  GPIO_InitStruct.Mode = GPIO_MODE_AF_OD;
  GPIO_InitStruct.Pull = GPIO_NOPULL;
  GPIO_InitStruct.Speed = GPIO_SPEED_FREQ_VERY_HIGH;
  GPIO_InitStruct.Alternate = GPIO_AF4_I2C1;
  HAL_GPIO_Init(GPIOB, &GPIO_InitStruct);

  /* EXTI interrupt init*/
  HAL_NVIC_SetPriority(EXTI1_IRQn, 0, 0);
  HAL_NVIC_EnableIRQ(EXTI1_IRQn);

}

/* USER CODE BEGIN 4 */

void HAL_DFSDM_FilterRegConvHalfCpltCallback(DFSDM_Filter_HandleTypeDef *hdfsdm_filter)
{
	if(audio_buffer_status == AUDIO_WAITING_BUFFER)
	{
		audio_buffer_status = AUDIO_HALF_BUFFER_AVIALABLE;
	}
}

void HAL_DFSDM_FilterRegConvCpltCallback(DFSDM_Filter_HandleTypeDef *hdfsdm_filter)
{
	if(audio_buffer_status == AUDIO_WAITING_BUFFER)
	{
		audio_buffer_status = AUDIO_FULL_BUFFER_AVAILABLE;
	}
}

static int wifi_init(void)
{
  uint8_t  MAC_Addr[6];

  /*Initialize and use WIFI module */
  if(WIFI_Init() ==  WIFI_STATUS_OK)
  {
    if(WIFI_GetMAC_Address(MAC_Addr, sizeof(MAC_Addr)) == WIFI_STATUS_OK)
    {
      LOG(("eS-WiFi module MAC Address : %02X:%02X:%02X:%02X:%02X:%02X\r\n",
               MAC_Addr[0],
               MAC_Addr[1],
               MAC_Addr[2],
               MAC_Addr[3],
               MAC_Addr[4],
               MAC_Addr[5]));
    }
    else
    {
      LOG(("> ERROR : CANNOT get MAC address\r\n"));
      return -1;
    }
  }
  else
  {
  	LOG(("> ERROR : ES-WIFI Not Initialized\r\n"));
    return -1;
  }
  return 0;
}

int wifi_shareAP(void)
{
  uint8_t channel = 1;
  uint8_t max_conn = 2;

  if (WIFI_ConfigureAP((const uint8_t *)AP_SSID, (const uint8_t *)AP_PASSWORD, WIFI_ECN_WPA2_PSK, channel, max_conn) == WIFI_STATUS_OK)
  {
    LOG(("Connect to this Access Point -> SSID: %s , PWD: %s\r\n", AP_SSID, AP_PASSWORD));

    if (WIFI_GatewayIP_Address(IP_Addr, sizeof(IP_Addr)) == WIFI_STATUS_OK)
    {
      LOG(("Gateway IP Address : %d.%d.%d.%d\r\n",
               IP_Addr[0],
               IP_Addr[1],
               IP_Addr[2],
               IP_Addr[3]));
    }
    else
    {
		  LOG((" ERROR : es-wifi module CANNOT get IP address\r\n"));
      return -1;
    }
  }
  else
  {
		 LOG(("ERROR : es-wifi module NOT connected\r\n"));
     return -1;
  }
  return 0;
}

int wifi_server(void)
{
  bool StopServer = false;

  LOG(("Running HTML Server \r\n"));

  if (WIFI_StartServer(SOCKET, WIFI_TCP_PROTOCOL, 1, "", PORT) != WIFI_STATUS_OK)
  {
    LOG(("ERROR: Cannot start server.\r\n"));
  }

  LOG(("Server is running and waiting for an HTTP  Client connection to %d.%d.%d.%d\r\n",IP_Addr[0],IP_Addr[1],IP_Addr[2],IP_Addr[3]));

  do
  {
    uint8_t RemoteIP[4];
    uint16_t RemotePort;

    while (WIFI_WaitServerConnection(SOCKET, 1000, RemoteIP, sizeof(RemoteIP), &RemotePort) != WIFI_STATUS_OK)
    {
        LOG(("Waiting connection to  %d.%d.%d.%d\r\n", IP_Addr[0], IP_Addr[1], IP_Addr[2], IP_Addr[3]));
    }

    LOG(("Client connected %d.%d.%d.%d:%d\r\n", RemoteIP[0], RemoteIP[1], RemoteIP[2], RemoteIP[3], RemotePort));

    StopServer = WebServerProcess();

    if(WIFI_CloseServerConnection(SOCKET) != WIFI_STATUS_OK)
    {
      LOG(("ERROR: failed to close current Server connection\r\n"));
      return -1;
    }
  }
  while(StopServer == false);

  if (WIFI_StopServer(SOCKET) != WIFI_STATUS_OK)
  {
    LOG(("ERROR: Cannot stop server.\n"));
  }

  LOG(("Server is stop\n"));
  return 0;
}

static bool WebServerProcess(void)
{
  uint8_t temp;
  uint16_t respLen;
  static uint8_t resp[1024];
  bool stopserver = false;

  if (WIFI_STATUS_OK == WIFI_ReceiveData(SOCKET, resp, 1000, &respLen, WIFI_READ_TIMEOUT))
  {
   LOG(("get %d byte from server\r\n", respLen));

   if( respLen > 0)
   {
      if(strstr((char *)resp, "GET")) /* GET: put web page */
      {
        temp = (int) 20; //BSP_TSENSOR_ReadTemp();
        if(SendWebPage(LedState, temp) != WIFI_STATUS_OK)
        {
          LOG(("> ERROR : Cannot send web page\r\n"));
        }
        else
        {
          LOG(("Send page after  GET command\r\n"));
        }
       }
       else if(strstr((char *)resp, "POST"))/* POST: received info */
       {
         LOG(("Post request\n"));

         if(strstr((char *)resp, "radio"))
         {
           if(strstr((char *)resp, "radio=0"))
           {
             LedState = 0;
             HAL_GPIO_WritePin(GPIOB, GPIO_PIN_14, GPIO_PIN_RESET);
             //BSP_LED_Off(LED2);
           }
           else if(strstr((char *)resp, "radio=1"))
           {
             LedState = 1;
             HAL_GPIO_WritePin(GPIOB, GPIO_PIN_14, GPIO_PIN_SET);
             //BSP_LED_On(LED2);
           }
           temp = (int) 20; //BSP_TSENSOR_ReadTemp();
         }
         if(strstr((char *)resp, "stop_server"))
         {
           if(strstr((char *)resp, "stop_server=0"))
           {
             stopserver = false;
           }
           else if(strstr((char *)resp, "stop_server=1"))
           {
             stopserver = true;
           }
         }
         temp = (int) 20; //(int) BSP_TSENSOR_ReadTemp();
         if(SendWebPage(LedState, temp) != WIFI_STATUS_OK)
         {
           LOG(("> ERROR : Cannot send web page\r\n"));
         }
         else
         {
           LOG(("Send Page after POST command\r\n"));
         }
       }
     }
  }
  else
  {
    LOG(("Client close connection\r\n"));
  }

  return stopserver;
}

/**
  * @brief  Send HTML page
  * @param  None
  * @retval None
  */
static WIFI_Status_t SendWebPage(uint8_t ledIsOn, uint8_t temperature)
{
  uint8_t  temp[50];
  uint16_t SentDataLength;
  WIFI_Status_t ret;

  /* construct web page content */
  strcpy((char *)http, (char *)"HTTP/1.0 200 OK\r\nContent-Type: text/html\r\nPragma: no-cache\r\n\r\n");
  strcat((char *)http, (char *)"<html>\r\n<body>\r\n");
  strcat((char *)http, (char *)"<title>STM32 Web Server</title>\r\n");
  strcat((char *)http, (char *)"<h2>InventekSys : Web Server using Es-Wifi with STM32</h2>\r\n");
  strcat((char *)http, (char *)"<br /><hr>\r\n");
  strcat((char *)http, (char *)"<p><form method=\"POST\"><strong>Temp: <input type=\"text\" value=\"");
  sprintf((char *)temp, "%d", temperature);
  strcat((char *)http, (char *)temp);
  strcat((char *)http, (char *)"\"> <sup>O</sup>C");

  if (ledIsOn)
  {
    strcat((char *)http, (char *)"<p><input type=\"radio\" name=\"radio\" value=\"0\" >LED off");
    strcat((char *)http, (char *)"<br><input type=\"radio\" name=\"radio\" value=\"1\" checked>LED on");
  }
  else
  {
    strcat((char *)http, (char *)"<p><input type=\"radio\" name=\"radio\" value=\"0\" checked>LED off");
    strcat((char *)http, (char *)"<br><input type=\"radio\" name=\"radio\" value=\"1\" >LED on");
  }

  strcat((char *)http, (char *)"</strong><p><input type=\"submit\"></form></span>");
  strcat((char *)http, (char *)"</body>\r\n</html>\r\n");

  ret = WIFI_SendData(0, (uint8_t *)http, strlen((char *)http), &SentDataLength, WIFI_WRITE_TIMEOUT);

  if((ret == WIFI_STATUS_OK) && (SentDataLength != strlen((char *)http)))
  {
    ret = WIFI_STATUS_ERROR;
  }

  return ret;
}

#include "es_wifi.h"

static ES_WIFI_Status_t AT_ExecuteCommand(ES_WIFIObject_t *Obj, const uint8_t *cmd, uint8_t *pdata)
{
  int ret = 0;
  int16_t recv_len = 0;

  LOCK_WIFI();

  if ((Obj->fops.IO_Send != NULL) && (Obj->fops.IO_Receive != NULL)) {

  ret = Obj->fops.IO_Send(cmd, strlen((const char *)cmd), Obj->Timeout);

  if( ret > 0)
  {
    recv_len = Obj->fops.IO_Receive(pdata, ES_WIFI_DATA_SIZE, Obj->Timeout);
    if ((recv_len > 0) && (recv_len <= ES_WIFI_DATA_SIZE))
    {
      if (recv_len == ES_WIFI_DATA_SIZE)
      {
        /* ES_WIFI_DATA_SIZE maybe too small !! */
        recv_len--;
      }
      *(pdata + recv_len) = 0;

      if (strstr((char *)pdata, "\r\nOK\r\n> "))
      {
        UNLOCK_WIFI();
        return ES_WIFI_STATUS_OK;
      }
      else if (strstr((char *)pdata, "\r\nERROR"))
      {
        UNLOCK_WIFI();
        return ES_WIFI_STATUS_UNEXPECTED_CLOSED_SOCKET;
      }
    }
    if (recv_len == ES_WIFI_ERROR_STUFFING_FOREVER)
    {
      UNLOCK_WIFI();
      return ES_WIFI_STATUS_MODULE_CRASH;
    }
   }
  }
  UNLOCK_WIFI();

  return ES_WIFI_STATUS_IO_ERROR;
}

static void start_wifi_cli(void)
{
	/* User CLI */

	  uint8_t wifi_cmd[100] = {0};
	  uint8_t *cmd_byte = wifi_cmd;

		while(1)
		{

			if (HAL_UART_Receive(&huart1, cmd_byte, 1, 500) == HAL_OK)
			{
				if((*cmd_byte) == '\r')
				{
					*(++cmd_byte) = 0; 		// string terminator
					cmd_byte = wifi_cmd;

					extern ES_WIFIObject_t EsWifiObj;

					if (AT_ExecuteCommand(&EsWifiObj, (uint8_t*)wifi_cmd, EsWifiObj.CmdData) == ES_WIFI_STATUS_OK)
					{
						HAL_UART_Transmit(&huart1, (uint8_t *)EsWifiObj.CmdData, strlen((char*)EsWifiObj.CmdData), HAL_MAX_DELAY);
					}
				}
				else
				{
				  cmd_byte++;
				}
			}
			else
			{
				cmd_byte = wifi_cmd;
			}
		}
}

/* USER CODE END 4 */

void Error_Handler(void)
{
  __disable_irq();
  while (1)
  {
  }
}
